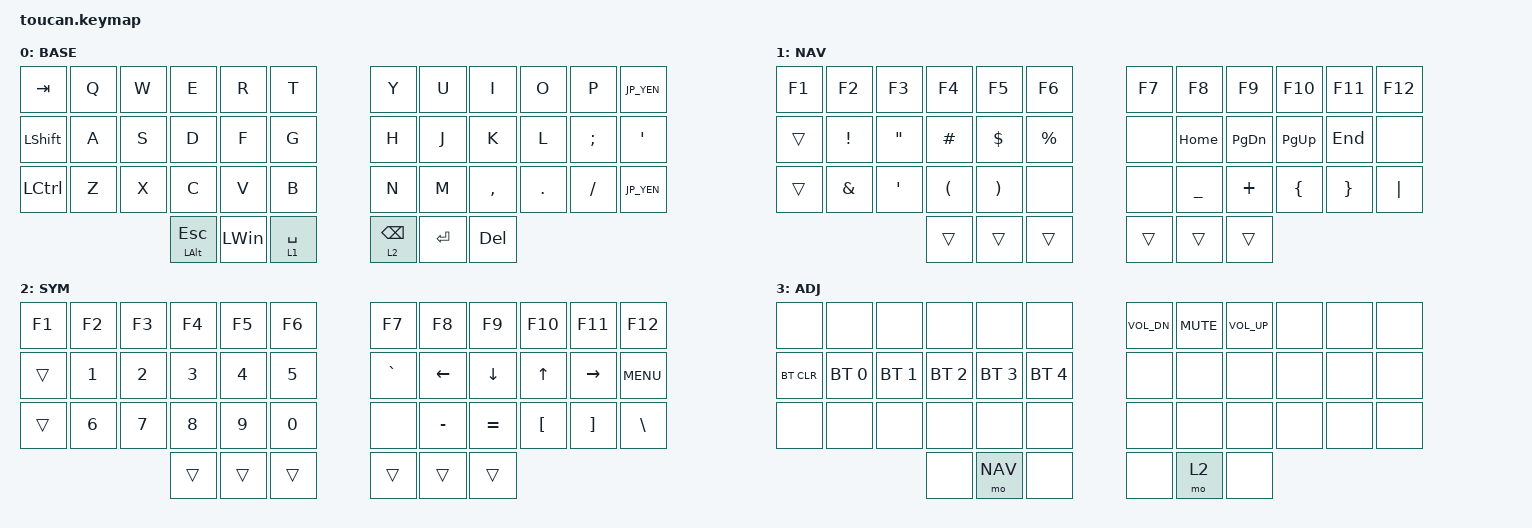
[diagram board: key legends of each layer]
#include <behaviors.dtsi>
#include <dt-bindings/zmk/bt.h>
#include <dt-bindings/zmk/keys.h>

#define BASE 0
#define NAV  1
#define SYM  2
#define ADJ  3

// OS設定を日本語キーボードのまま使用するための変換定義

#define JP_DQUOTE       AT                // "
#define JP_AMPERSAND    CARET             // &
#define JP_QUOTE        AMPERSAND         // '
#define JP_EQUAL        UNDER             // =
#define JP_CARET        EQUAL             // ^
#define JP_YEN          0x89              // ¥
#define JP_PLUS         COLON             // +
#define JP_TILDE        PLUS              // ~
#define JP_PIPE         LS(0x89)          // |
#define JP_AT           LEFT_BRACKET      // @
#define JP_COLON        SINGLE_QUOTE      // :
#define JP_ASTERISK     DOUBLE_QUOTES     // *
#define JP_BACKQUOTE    LEFT_BRACE        // `
#define JP_UNDERSCORE   LS(0x87)          // _
#define JP_LBRACKET     RIGHT_BRACKET     // [
#define JP_RBRACKET     BACKSLASH         // ]
#define JP_LPAREN       ASTERISK          // (
#define JP_RPAREN       LEFT_PARENTHESIS  // )
#define JP_LBRACE       RIGHT_BRACE       // {
#define JP_RBRACE       PIPE              // }
#define JP_KANA         LANGUAGE_1        // かな
#define JP_EISU         LANGUAGE_2        // 英数
#define JP_HANZEN       GRAVE             // 半角/全角

/ {
    conditional_layers {
        compatible = "zmk,conditional-layers";

        tri_layer {
            if-layers = <1 2>;
            then-layer = <3>;
        };
    };

    keymap {
        compatible = "zmk,keymap";

        base {
            display-name = "BASE";
            bindings = <
            &kp TAB           &kp Q  &kp W  &kp E  &kp R  &kp T  &kp Y  &kp U  &kp I      &kp O    &kp P     &kp JP_YEN  
            &kp LEFT_SHIFT    &kp A  &kp S  &kp D  &kp F  &kp G  &kp H  &kp J  &kp K      &kp L    &kp SEMI  &kp JP_COLON  
            &kp LEFT_CONTROL  &kp Z  &kp X  &kp C  &kp V  &kp B  &kp N  &kp M  &kp COMMA  &kp DOT  &kp FSLH  &kp JP_YEN  
            &mt LEFT_ALT ESCAPE  &kp LEFT_WIN  &lt 1 SPACE  &lt 2 BACKSPACE  &kp ENTER  &kp DELETE
            >;
        };

        nav {
            display-name = "NAV";
            bindings = <
            &kp F1  &kp F2           &kp F3             &kp F4                &kp F5                 &kp F6       &kp F7  &kp F8        &kp F9         &kp F10           &kp F11        &kp F12  
            &trans  &kp EXCLAMATION  &kp DOUBLE_QUOTES  &kp HASH              &kp DOLLAR             &kp PERCENT  &none   &kp HOME      &kp PAGE_DOWN  &kp PAGE_UP       &kp END        &none  
            &trans  &kp AMPERSAND    &kp SINGLE_QUOTE   &kp LEFT_PARENTHESIS  &kp RIGHT_PARENTHESIS  &none        &none   &kp JP_EQUAL  &kp JP_TILDE   &kp JP_BACKQUOTE  &kp JP_LBRACE  &kp JP_RBRACE  
            &trans  &trans  &trans  &trans  &trans  &trans
            >;
        };

        sym {
            display-name = "SYM";
            bindings = <
            &kp F1  &kp F2        &kp F3        &kp F4        &kp F5        &kp F6        &kp F7         &kp F8     &kp F9          &kp F10       &kp F11          &kp F12  
            &trans  &kp NUMBER_1  &kp NUMBER_2  &kp NUMBER_3  &kp NUMBER_4  &kp NUMBER_5  &kp JP_HANZEN  &kp LEFT   &kp DOWN_ARROW  &kp UP_ARROW  &kp RIGHT        &kp K_MENU  
            &trans  &kp NUMBER_6  &kp NUMBER_7  &kp NUMBER_8  &kp NUMBER_9  &kp NUMBER_0  &none          &kp MINUS  &kp JP_CARET    &kp JP_AT     &kp JP_LBRACKET  &kp JP_RBRACKET  
            &trans  &trans  &trans  &trans  &trans  &trans
            >;
        };

        adj {
            display-name = "ADJ";
            bindings = <
            &none       &none         &none         &none         &none         &none         &kp C_VOL_DN  &kp C_MUTE  &kp C_VOL_UP  &none  &none  &none  
            &bt BT_CLR  &bt BT_SEL 0  &bt BT_SEL 1  &bt BT_SEL 2  &bt BT_SEL 3  &bt BT_SEL 4  &none         &none       &none         &none  &none  &none  
            &none       &none         &none         &none         &none         &none         &none         &none       &none         &none  &none  &none  
            &none  &mo NAV  &none  &none  &mo 2  &none
            >;
        };

        extra_1 { status = "reserved"; };

        extra_2 { status = "reserved"; };

        extra_3 { status = "reserved"; };
    };
};
